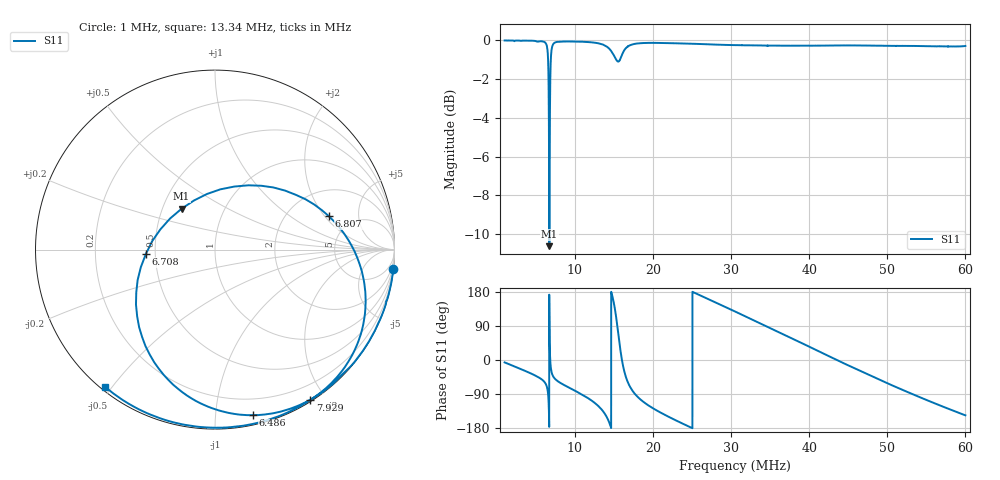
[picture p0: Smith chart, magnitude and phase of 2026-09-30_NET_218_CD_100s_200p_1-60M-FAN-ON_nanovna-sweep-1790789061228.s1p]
! NanoVNA Web complex sweep
! Processing: unaveraged complex samples; linear segment spacing; no smoothing
# Hz S RI R 50
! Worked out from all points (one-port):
!   10100 points, 1 MHz to 60 MHz, reference 50 ohm
!   lowest |S11| = -10.6 dB at 6.731 MHz (marker M1), VSWR 1.83, Z = 31.3 + j15.6 ohm
!   |S11| at or under -10 dB: 6.721732 MHz to 6.743468 MHz (21.74 kHz wide, 0.323 % of centre)
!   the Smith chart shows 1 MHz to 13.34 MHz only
!   S11 on the Smith chart (normalised r, x): 1 MHz: 0, -18; 6.486 MHz: 0.07, -1.25; 6.708 MHz: 0.44, -0.03; 6.807 MHz: 3.34, +2.21; 7.929 MHz: 0.02, -1.81; 13.34 MHz: 0.01, -0.48
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1000000  0.9936 -0.1099
5416552  0.6831 -0.7227
6316220  0.4113 -0.8892
6485638  0.2097 -0.9224
6707634  -0.3851 -0.0244
6731002  -0.1864 0.2276
6806948  0.6343 0.1862
7093206  0.7641 -0.588
7928612  0.5298 -0.8387
8378446  0.4463 -0.8871
1.131697e7  -0.1046 -0.9859
1.33383e7  -0.6116 -0.7649
1.417955e7  -0.868 -0.4118
1.482801e7  -0.8988 0.2276
1.535379e7  -0.1894 0.8675
1.575105e7  0.7056 0.543
1.606652e7  0.9183 -0.0821
1.64813e7  0.7118 -0.633
1.734007e7  0.1666 -0.962
1.96243e7  -0.5316 -0.8299
2.31295e7  -0.931 -0.315
3.05021e7  -0.5986 0.7664
3.42293e7  -0.0346 0.9695
3.78747e7  0.5382 0.8059
4.169537e7  0.9207 0.3048
4.525315e7  0.9299 -0.2785
5.262575e7  0.0877 -0.9641
5.999836e7  -0.8027 -0.5405
